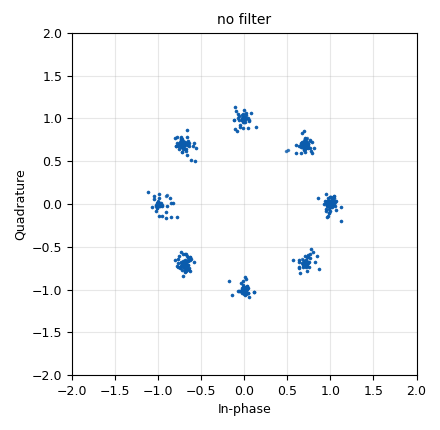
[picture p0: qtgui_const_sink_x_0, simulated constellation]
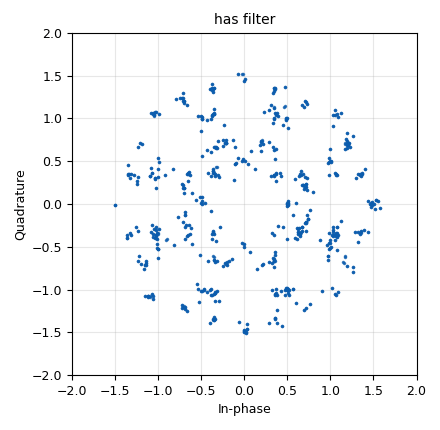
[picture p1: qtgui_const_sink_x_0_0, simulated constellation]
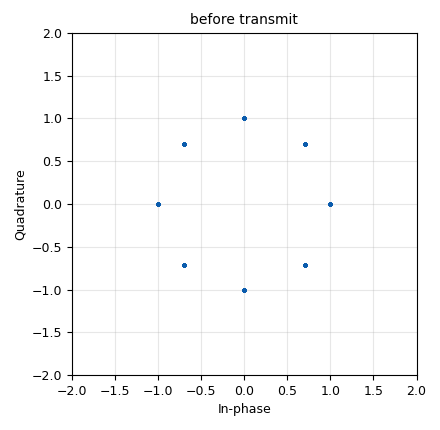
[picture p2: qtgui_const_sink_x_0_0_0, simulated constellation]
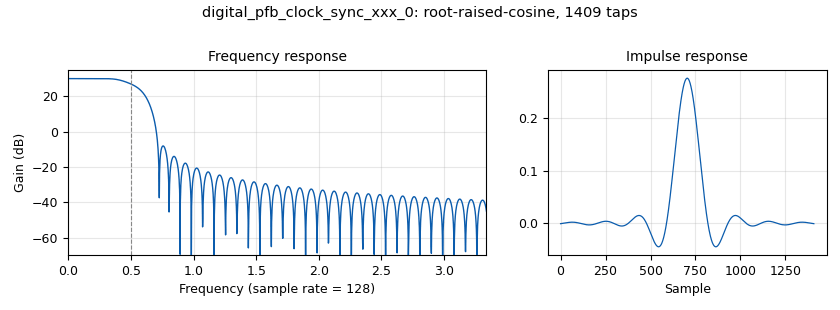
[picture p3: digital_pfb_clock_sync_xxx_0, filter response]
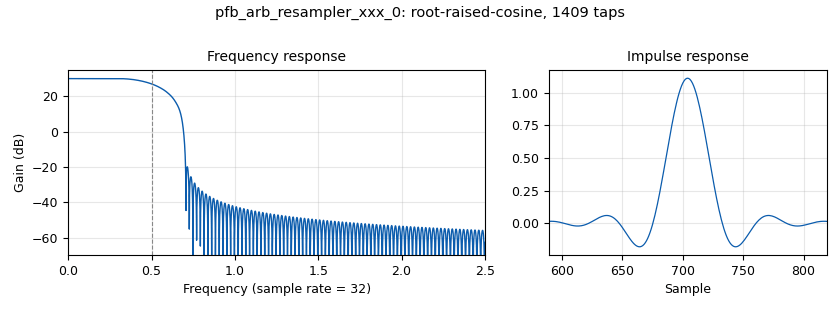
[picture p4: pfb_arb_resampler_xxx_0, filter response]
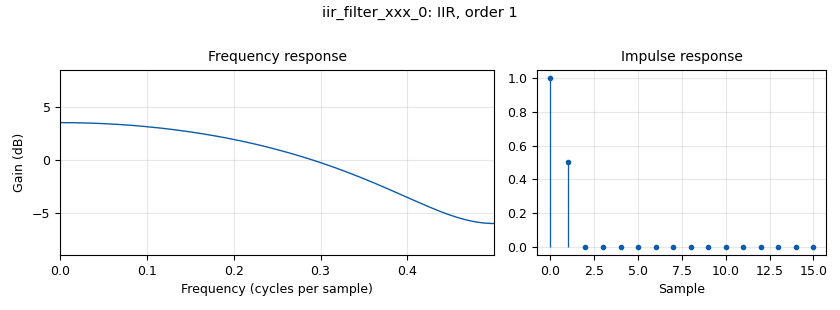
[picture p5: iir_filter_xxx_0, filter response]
options:
  parameters:
    generate_options: qt_gui
    id: multipath_fading
    output_language: python
    title: multipath_fading
  states: {}

blocks:
- name: nfilts
  id: variable
  parameters:
    value: '32'
  states: {}
- name: ntaps
  id: variable
  parameters:
    value: 11*nfilts*sps
  states: {}
- name: rx_taps
  id: variable
  parameters:
    value: firdes.root_raised_cosine(nfilts,nfilts*sps,1.0,0.4,ntaps)
  states: {}
- name: samp_rate
  id: variable
  parameters:
    value: '32000'
  states: {}
- name: sps
  id: variable
  parameters:
    value: '4'
  states: {}
- name: timming_bw
  id: variable
  parameters:
    value: 2*pi/100
  states: {}
- name: tx_taps
  id: variable
  parameters:
    value: firdes.root_raised_cosine(nfilts,nfilts,1.0,0.4,ntaps)
  states: {}
- name: variable_2
  id: variable
  parameters:
    value: '0'
  states: {}
- name: analog_random_source_x_0
  id: analog_random_source_x
  parameters:
    max: '8'
    min: '0'
    num_samps: '1000'
    repeat: 'True'
    type: int
  states: {}
- name: blocks_throttle2_0
  id: blocks_throttle2
  parameters:
    samples_per_second: samp_rate
    type: complex
  states: {}
- name: blocks_throttle2_1
  id: blocks_throttle2
  parameters:
    samples_per_second: samp_rate
    type: complex
  states: {}
- name: digital_chunks_to_symbols_xx_0
  id: digital_chunks_to_symbols_xx
  parameters:
    dimension: '1'
    in_type: int
    out_type: complex
    symbol_table: '[(-0.707-0.707j), (-1+0j), (-0.707+0.707j), (0+1j), (0.707+0.707j), (1+0j), (0.707-0.707j), (0-1j)]'
  states: {}
- name: digital_pfb_clock_sync_xxx_0
  id: digital_pfb_clock_sync_xxx
  parameters:
    filter_size: '32'
    init_phase: '16'
    loop_bw: timming_bw
    max_dev: '1.5'
    osps: '1'
    sps: '8'
    taps: rx_taps
    type: ccf
  states: {}
- name: iir_filter_xxx_0
  id: iir_filter_xxx
  parameters:
    fbtaps: '1'
    fftaps: '[1, 0.5]'
    type: ccc
  states: {}
- name: import_0
  id: import
  parameters:
    imports: from math import pi as pi
  states: {}
- name: import_1
  id: import
  parameters:
    imports: from gnuradio import digital
  states: {}
- name: import_2
  id: import
  parameters:
    imports: from gnuradio.filter import firdes
  states: {}
- name: pfb_arb_resampler_xxx_0
  id: pfb_arb_resampler_xxx
  parameters:
    atten: '100'
    nfilts: '32'
    rrate: sps
    taps: tx_taps
    type: ccf
  states: {}
- name: qtgui_const_sink_x_0
  id: qtgui_const_sink_x
  parameters:
    name: no filter
    size: '1024'
    type: complex
  states: {}
- name: qtgui_const_sink_x_0_0
  id: qtgui_const_sink_x
  parameters:
    name: has filter
    size: '1024'
    type: complex
  states: {}
- name: qtgui_const_sink_x_0_0_0
  id: qtgui_const_sink_x
  parameters:
    name: before transmit
    size: '1024'
    type: complex
  states: {}

connections:
- [analog_random_source_x_0, '0', digital_chunks_to_symbols_xx_0, '0']
- [blocks_throttle2_0, '0', qtgui_const_sink_x_0, '0']
- [blocks_throttle2_1, '0', qtgui_const_sink_x_0_0, '0']
- [digital_chunks_to_symbols_xx_0, '0', pfb_arb_resampler_xxx_0, '0']
- [digital_chunks_to_symbols_xx_0, '0', qtgui_const_sink_x_0_0_0, '0']
- [digital_pfb_clock_sync_xxx_0, '0', blocks_throttle2_0, '0']
- [digital_pfb_clock_sync_xxx_0, '0', iir_filter_xxx_0, '0']
- [iir_filter_xxx_0, '0', blocks_throttle2_1, '0']
- [pfb_arb_resampler_xxx_0, '0', digital_pfb_clock_sync_xxx_0, '0']

metadata:
  file_format: 1
  grc_version: 3.10.11.0
